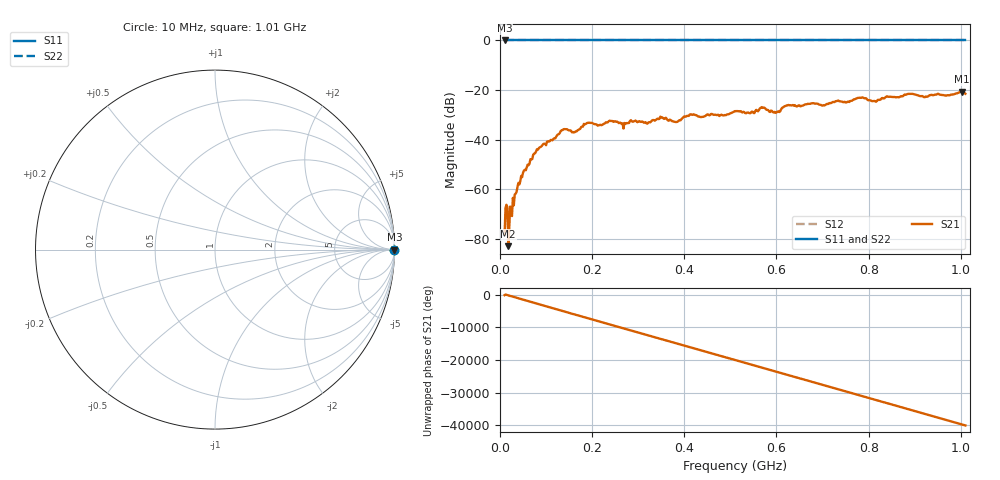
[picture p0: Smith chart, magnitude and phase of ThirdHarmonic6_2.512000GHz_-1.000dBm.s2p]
! 8/17/2025 4:53:29 AM
! C:\ANRITSUVNA\TEMP\TEMP.S2P
! CHANNEL.1
! TR.MEASUREMENT
! RAW.DATA
! RF.CORRECTION.OFF
! AVERAGING.OFF
! IF.BANDWIDTH: 5KHZ
! SWEEPTYPE:  FREQ.SWEEP(Linear)
! Reference Plane Port Info
! PORT:  PORT1  PORT2
! DISTANCE:  0  m  0  m
! TIME:  0  s  0  s
! PHASE.OFFSET:  0  deg.  0  deg.
! LOSS:  0  dB  0  dB
! REF.LOSS:  0  dB  0  dB
! REF.FREQ:  0  Hz  0  Hz
! Power Info
! POWER:  -20  dBm  -20  dBm
! EFF.POWER:  -20  dBm  -20  dBm
! SOURCE.ATTEN:  0  dB  0  dB
! TEST.ATTEN:  0  dB  0  dB
# GHZ S RI R 50.0
! FREQ.GHZ  S11RE  S11IM  S21RE  S21IM  S12RE  S12IM  S22RE  S22IM
!; PortSelection: Port_12
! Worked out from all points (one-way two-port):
!   501 points, 10 MHz to 1.01 GHz, reference 50 ohm
!   highest |S21| = -20.60 dB at 1.002 GHz (marker M1); lowest = -82.8 dB at 18 MHz (marker M2)
!   lowest |S11| = 0.0 dB at 10 MHz (marker M3)
!   |S11| at or under -10 dB: nowhere
!   |S22| runs from 0.0 to 0.0 dB; largest |S21 - S12| = 1.1
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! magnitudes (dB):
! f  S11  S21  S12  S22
! 10 MHz  0.0  -78.0  0.0  0.0
! 12 MHz  0.0  -67.5  0.0  0.0
! 18 MHz  0.0  -82.8  0.0  0.0
! 22 MHz  0.0  -66.9  0.0  0.0
! 32 MHz  0.0  -62.0  0.0  0.0
! 50 MHz  0.0  -53.2  0.0  0.0
! 76 MHz  0.0  -45.4  0.0  0.0
! 136 MHz  0.0  -36.1  0.0  0.0
! 160 MHz  0.0  -37.1  0.0  0.0
! 178 MHz  0.0  -34.7  0.0  0.0
! 344 MHz  0.0  -31.7  0.0  0.0
! 382 MHz  0.0  -32.9  0.0  0.0
! 416 MHz  0.0  -29.9  0.0  0.0
! 510 MHz  0.0  -28.4  0.0  0.0
! 548 MHz  0.0  -28.7  0.0  0.0
! 570 MHz  0.0  -27.1  0.0  0.0
! 598 MHz  0.0  -29.1  0.0  0.0
! 622 MHz  0.0  -26.2  0.0  0.0
! 678 MHz  0.0  -25.3  0.0  0.0
! 844 MHz  0.0  -22.7  0.0  0.0
! 1.002 GHz  0.0  -20.6  0.0  0.0
! 1.01 GHz  0.0  -21.5  0.0  0.0
